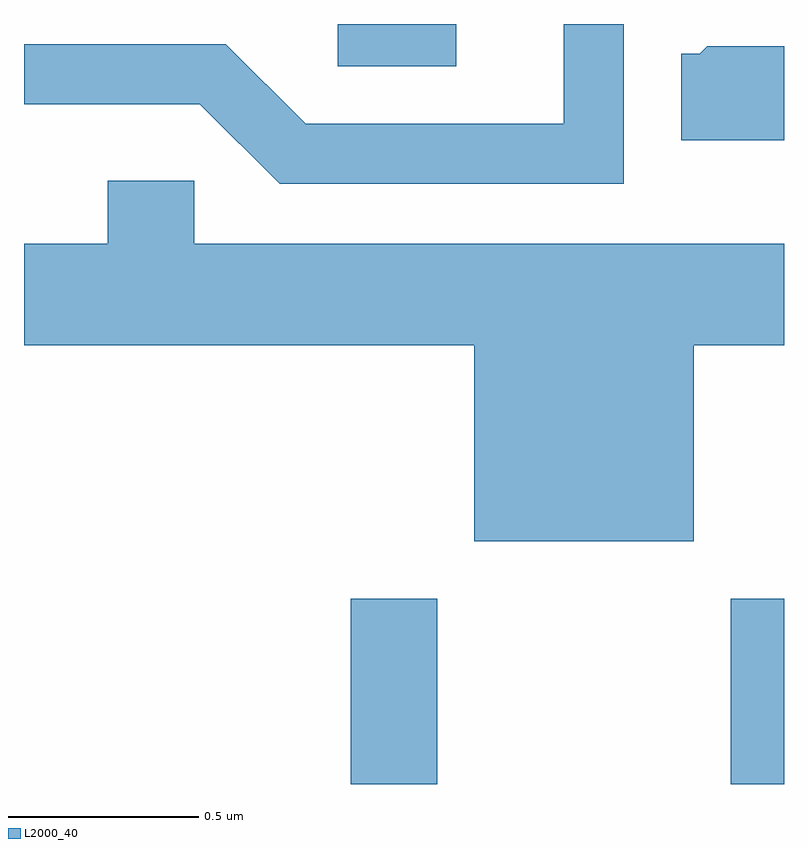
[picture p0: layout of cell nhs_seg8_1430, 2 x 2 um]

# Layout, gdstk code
import gdstk
lib = gdstk.Library(unit=1e-6, precision=1e-09)
def R(c, l, rs):  # rectangles x0, y0, x1, y1
    for r in rs: c.add(gdstk.rectangle(r[:2], r[2:], *l))
def P(c, l, *ps):  # polygons
    for p in ps: c.add(gdstk.Polygon(p, *l))
L2000_40 = (2000, 40)

nhs_seg8_1430 = lib.new_cell('nhs_seg8_1430')
R(nhs_seg8_1430, L2000_40, [(196.471,1866.342,196.699,1866.829), (197.471,1866.342,197.611,1866.829), (196.436,1868.231,196.748,1868.342)])
P(nhs_seg8_1430, L2000_40, [(197.189,1868.342),(197.031,1868.342),(197.031,1868.079),(196.352,1868.079),(196.142,1868.289),(195.611,1868.289),(195.611,1868.131),(196.074,1868.131),(196.284,1867.921),(197.189,1867.921)],
  [(197.611,1868.284),(197.409,1868.284),(197.389,1868.264),(197.341,1868.264),(197.341,1868.036),(197.611,1868.036)],
  [(197.374,1867.496),(197.611,1867.496),(197.611,1867.764),(196.059,1867.764),(196.059,1867.929),(195.831,1867.929),(195.831,1867.764),(195.611,1867.764),(195.611,1867.496),(196.796,1867.496),(196.796,1866.981),(197.374,1866.981)])

lib.write_gds('nhs_seg8_1430.gds')
